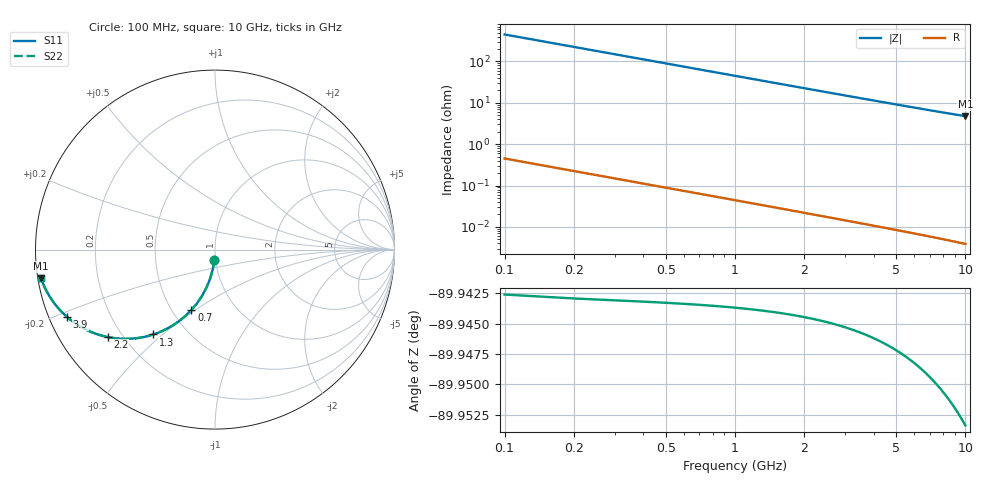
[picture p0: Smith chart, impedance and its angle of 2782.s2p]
# Hz S RI R 50.00
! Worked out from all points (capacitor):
!   100 points, 100 MHz to 10 GHz, reference 50 ohm
!   read as one part in shunt: C = 3.54 pF near 100 MHz
!   lowest |Z| = 4.76 ohm at 10 GHz (marker M1)
!   S11 on the Smith chart (normalised r, x): 100 MHz: 0.99, -0.11; 700 MHz: 0.62, -0.48; 1.3 GHz: 0.32, -0.47; 2.2 GHz: 0.14, -0.35; 3.9 GHz: 0.05, -0.22; 10 GHz: 0.01, -0.08
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1e8  -0.00311 -0.0553  0.9968 -0.0556  0.9968 -0.0556  -0.00311 -0.0553
2e8  -0.0123 -0.1096  0.9876 -0.1101  0.9876 -0.1101  -0.0123 -0.1096
3e8  -0.0272 -0.1619  0.9727 -0.1626  0.9727 -0.1626  -0.0272 -0.1619
4e8  -0.0473 -0.2114  0.9526 -0.2124  0.9526 -0.2124  -0.0473 -0.2114
5e8  -0.072 -0.2574  0.928 -0.2586  0.928 -0.2586  -0.072 -0.2574
6e8  -0.1004 -0.2993  0.8996 -0.3008  0.8996 -0.3008  -0.1004 -0.2993
7e8  -0.1318 -0.337  0.8681 -0.3386  0.8681 -0.3386  -0.1318 -0.337
8e8  -0.1654 -0.3701  0.8345 -0.372  0.8345 -0.372  -0.1654 -0.3701
1e9  -0.2363 -0.4231  0.7636 -0.4255  0.7636 -0.4255  -0.2363 -0.4231
1.3e9  -0.3432 -0.4727  0.6568 -0.4758  0.6568 -0.4758  -0.3432 -0.4727
1.5e9  -0.4101 -0.4896  0.5898 -0.4932  0.5898 -0.4932  -0.4101 -0.4896
1.8e9  -0.5001 -0.4973  0.4998 -0.5017  0.4998 -0.5017  -0.5001 -0.4973
2.2e9  -0.5989 -0.4869  0.401 -0.4923  0.401 -0.4923  -0.5989 -0.4869
2.5e9  -0.6584 -0.4707  0.3415 -0.4768  0.3415 -0.4768  -0.6584 -0.4707
2.8e9  -0.7073 -0.4511  0.2926 -0.4579  0.2926 -0.4579  -0.7073 -0.4511
3.4e9  -0.7808 -0.4091  0.2191 -0.4173  0.2191 -0.4173  -0.7808 -0.4091
3.9e9  -0.8241 -0.3754  0.1758 -0.385  0.1758 -0.385  -0.8241 -0.3754
4.5e9  -0.8618 -0.339  0.1381 -0.35  0.1381 -0.35  -0.8618 -0.339
5.1e9  -0.889 -0.3072  0.1108 -0.3197  0.1108 -0.3197  -0.889 -0.3072
6.7e9  -0.9327 -0.2415  0.0671 -0.2581  0.0671 -0.2581  -0.9327 -0.2415
8.4e9  -0.9563 -0.193  0.0434 -0.2141  0.0434 -0.2141  -0.9563 -0.193
1e10  -0.969 -0.1596  0.0306 -0.185  0.0306 -0.185  -0.969 -0.1596
